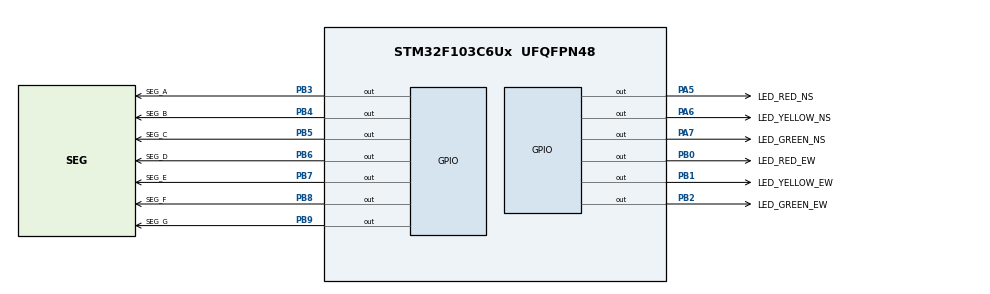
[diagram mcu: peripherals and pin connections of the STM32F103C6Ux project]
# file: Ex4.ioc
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Mcu.Family=STM32F1
Mcu.Name=STM32F103C6Ux
Mcu.Package=UFQFPN48
NVIC.PriorityGroup=NVIC_PRIORITYGROUP_4
PA5.GPIO_Label=LED_RED_NS
PA5.Signal=GPIO_Output
PA6.GPIO_Label=LED_YELLOW_NS
PA6.Signal=GPIO_Output
PA7.GPIO_Label=LED_GREEN_NS
PA7.Signal=GPIO_Output
PB0.GPIO_Label=LED_RED_EW
PB0.Signal=GPIO_Output
PB1.GPIO_Label=LED_YELLOW_EW
PB1.Signal=GPIO_Output
PB2.GPIO_Label=LED_GREEN_EW
PB2.Signal=GPIO_Output
PB3.GPIO_Label=SEG_A
PB3.Signal=GPIO_Output
PB4.GPIO_Label=SEG_B
PB4.Signal=GPIO_Output
PB5.GPIO_Label=SEG_C
PB5.Signal=GPIO_Output
PB6.GPIO_Label=SEG_D
PB6.Signal=GPIO_Output
PB7.GPIO_Label=SEG_E
PB7.Signal=GPIO_Output
PB8.GPIO_Label=SEG_F
PB8.Signal=GPIO_Output
PB9.GPIO_Label=SEG_G
PB9.Signal=GPIO_Output
ProjectManager.HeapSize=0x200
ProjectManager.StackSize=0x400
ProjectManager.TargetToolchain=STM32CubeIDE
RCC.APB1Freq_Value=8000000
RCC.APB2Freq_Value=8000000
VP_SYS_VS_ND.Mode=No_Debug
board=custom

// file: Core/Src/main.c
/* USER CODE BEGIN Header */
/**
  ******************************************************************************
  * @file           : main.c
  * @brief          : Main program body
  ******************************************************************************
  * @attention
  *
  * <h2><center>&copy; Copyright (c) 2026 STMicroelectronics.
  * All rights reserved.</center></h2>
  *
  * This software component is licensed by ST under BSD 3-Clause license,
  * the "License"; You may not use this file except in compliance with the
  * License. You may obtain a copy of the License at:
  *                        opensource.org/licenses/BSD-3-Clause
  *
  ******************************************************************************
  */
/* USER CODE END Header */
#include "main.h"

void SystemClock_Config(void);
static void MX_GPIO_Init(void);
/* USER CODE BEGIN PFP */
void display7SEG(int num);
/* USER CODE END PFP */

/* USER CODE BEGIN 0 */
void display7SEG(int num)
{
    if (num == 0)
    {
        // Số 0: Sáng a, b, c, d, e, f. Tắt g
        HAL_GPIO_WritePin(SEG_A_GPIO_Port, SEG_A_Pin, GPIO_PIN_RESET);
        HAL_GPIO_WritePin(SEG_B_GPIO_Port, SEG_B_Pin, GPIO_PIN_RESET);
        HAL_GPIO_WritePin(SEG_C_GPIO_Port, SEG_C_Pin, GPIO_PIN_RESET);
        HAL_GPIO_WritePin(SEG_D_GPIO_Port, SEG_D_Pin, GPIO_PIN_RESET);
        HAL_GPIO_WritePin(SEG_E_GPIO_Port, SEG_E_Pin, GPIO_PIN_RESET);
        HAL_GPIO_WritePin(SEG_F_GPIO_Port, SEG_F_Pin, GPIO_PIN_RESET);
        HAL_GPIO_WritePin(SEG_G_GPIO_Port, SEG_G_Pin, GPIO_PIN_SET);
    }
    else if (num == 1)
    {
        // Số 1: Sáng b, c. Tắt phần còn lại
        HAL_GPIO_WritePin(SEG_A_GPIO_Port, SEG_A_Pin, GPIO_PIN_SET);
        HAL_GPIO_WritePin(SEG_B_GPIO_Port, SEG_B_Pin, GPIO_PIN_RESET);
        HAL_GPIO_WritePin(SEG_C_GPIO_Port, SEG_C_Pin, GPIO_PIN_RESET);
        HAL_GPIO_WritePin(SEG_D_GPIO_Port, SEG_D_Pin, GPIO_PIN_SET);
        HAL_GPIO_WritePin(SEG_E_GPIO_Port, SEG_E_Pin, GPIO_PIN_SET);
        HAL_GPIO_WritePin(SEG_F_GPIO_Port, SEG_F_Pin, GPIO_PIN_SET);
        HAL_GPIO_WritePin(SEG_G_GPIO_Port, SEG_G_Pin, GPIO_PIN_SET);
    }
    else if (num == 2)
    {
        // Số 2: Sáng a, b, d, e, g. Tắt c, f
        HAL_GPIO_WritePin(SEG_A_GPIO_Port, SEG_A_Pin, GPIO_PIN_RESET);
        HAL_GPIO_WritePin(SEG_B_GPIO_Port, SEG_B_Pin, GPIO_PIN_RESET);
        HAL_GPIO_WritePin(SEG_C_GPIO_Port, SEG_C_Pin, GPIO_PIN_SET);
        HAL_GPIO_WritePin(SEG_D_GPIO_Port, SEG_D_Pin, GPIO_PIN_RESET);
        HAL_GPIO_WritePin(SEG_E_GPIO_Port, SEG_E_Pin, GPIO_PIN_RESET);
        HAL_GPIO_WritePin(SEG_F_GPIO_Port, SEG_F_Pin, GPIO_PIN_SET);
        HAL_GPIO_WritePin(SEG_G_GPIO_Port, SEG_G_Pin, GPIO_PIN_RESET);
    }
    else if (num == 3)
    {
        // Số 3: Sáng a, b, c, d, g. Tắt e, f
        HAL_GPIO_WritePin(SEG_A_GPIO_Port, SEG_A_Pin, GPIO_PIN_RESET);
        HAL_GPIO_WritePin(SEG_B_GPIO_Port, SEG_B_Pin, GPIO_PIN_RESET);
        HAL_GPIO_WritePin(SEG_C_GPIO_Port, SEG_C_Pin, GPIO_PIN_RESET);
        HAL_GPIO_WritePin(SEG_D_GPIO_Port, SEG_D_Pin, GPIO_PIN_RESET);
        HAL_GPIO_WritePin(SEG_E_GPIO_Port, SEG_E_Pin, GPIO_PIN_SET);
        HAL_GPIO_WritePin(SEG_F_GPIO_Port, SEG_F_Pin, GPIO_PIN_SET);
        HAL_GPIO_WritePin(SEG_G_GPIO_Port, SEG_G_Pin, GPIO_PIN_RESET);
    }
    else if (num == 4)
    {
        // Số 4: Sáng b, c, f, g. Tắt a, d, e
        HAL_GPIO_WritePin(SEG_A_GPIO_Port, SEG_A_Pin, GPIO_PIN_SET);
        HAL_GPIO_WritePin(SEG_B_GPIO_Port, SEG_B_Pin, GPIO_PIN_RESET);
        HAL_GPIO_WritePin(SEG_C_GPIO_Port, SEG_C_Pin, GPIO_PIN_RESET);
        HAL_GPIO_WritePin(SEG_D_GPIO_Port, SEG_D_Pin, GPIO_PIN_SET);
        HAL_GPIO_WritePin(SEG_E_GPIO_Port, SEG_E_Pin, GPIO_PIN_SET);
        HAL_GPIO_WritePin(SEG_F_GPIO_Port, SEG_F_Pin, GPIO_PIN_RESET);
        HAL_GPIO_WritePin(SEG_G_GPIO_Port, SEG_G_Pin, GPIO_PIN_RESET);
    }
    else if (num == 5)
    {
        // Số 5: Sáng a, c, d, f, g. Tắt b, e
        HAL_GPIO_WritePin(SEG_A_GPIO_Port, SEG_A_Pin, GPIO_PIN_RESET);
        HAL_GPIO_WritePin(SEG_B_GPIO_Port, SEG_B_Pin, GPIO_PIN_SET);
        HAL_GPIO_WritePin(SEG_C_GPIO_Port, SEG_C_Pin, GPIO_PIN_RESET);
        HAL_GPIO_WritePin(SEG_D_GPIO_Port, SEG_D_Pin, GPIO_PIN_RESET);
        HAL_GPIO_WritePin(SEG_E_GPIO_Port, SEG_E_Pin, GPIO_PIN_SET);
        HAL_GPIO_WritePin(SEG_F_GPIO_Port, SEG_F_Pin, GPIO_PIN_RESET);
        HAL_GPIO_WritePin(SEG_G_GPIO_Port, SEG_G_Pin, GPIO_PIN_RESET);
    }
    else if (num == 6)
    {
        // Số 6: Sáng a, c, d, e, f, g. Tắt b
        HAL_GPIO_WritePin(SEG_A_GPIO_Port, SEG_A_Pin, GPIO_PIN_RESET);
        HAL_GPIO_WritePin(SEG_B_GPIO_Port, SEG_B_Pin, GPIO_PIN_SET);
        HAL_GPIO_WritePin(SEG_C_GPIO_Port, SEG_C_Pin, GPIO_PIN_RESET);
        HAL_GPIO_WritePin(SEG_D_GPIO_Port, SEG_D_Pin, GPIO_PIN_RESET);
        HAL_GPIO_WritePin(SEG_E_GPIO_Port, SEG_E_Pin, GPIO_PIN_RESET);
        HAL_GPIO_WritePin(SEG_F_GPIO_Port, SEG_F_Pin, GPIO_PIN_RESET);
        HAL_GPIO_WritePin(SEG_G_GPIO_Port, SEG_G_Pin, GPIO_PIN_RESET);
    }
    else if (num == 7)
    {
        // Số 7: Sáng a, b, c. Tắt phần còn lại
        HAL_GPIO_WritePin(SEG_A_GPIO_Port, SEG_A_Pin, GPIO_PIN_RESET);
        HAL_GPIO_WritePin(SEG_B_GPIO_Port, SEG_B_Pin, GPIO_PIN_RESET);
        HAL_GPIO_WritePin(SEG_C_GPIO_Port, SEG_C_Pin, GPIO_PIN_RESET);
        HAL_GPIO_WritePin(SEG_D_GPIO_Port, SEG_D_Pin, GPIO_PIN_SET);
        HAL_GPIO_WritePin(SEG_E_GPIO_Port, SEG_E_Pin, GPIO_PIN_SET);
        HAL_GPIO_WritePin(SEG_F_GPIO_Port, SEG_F_Pin, GPIO_PIN_SET);
        HAL_GPIO_WritePin(SEG_G_GPIO_Port, SEG_G_Pin, GPIO_PIN_SET);
    }
    else if (num == 8)
    {
        // Số 8: Sáng tất cả
        HAL_GPIO_WritePin(SEG_A_GPIO_Port, SEG_A_Pin, GPIO_PIN_RESET);
        HAL_GPIO_WritePin(SEG_B_GPIO_Port, SEG_B_Pin, GPIO_PIN_RESET);
        HAL_GPIO_WritePin(SEG_C_GPIO_Port, SEG_C_Pin, GPIO_PIN_RESET);
        HAL_GPIO_WritePin(SEG_D_GPIO_Port, SEG_D_Pin, GPIO_PIN_RESET);
        HAL_GPIO_WritePin(SEG_E_GPIO_Port, SEG_E_Pin, GPIO_PIN_RESET);
        HAL_GPIO_WritePin(SEG_F_GPIO_Port, SEG_F_Pin, GPIO_PIN_RESET);
        HAL_GPIO_WritePin(SEG_G_GPIO_Port, SEG_G_Pin, GPIO_PIN_RESET);
    }
    else if (num == 9)
    {
        // Số 9: Sáng a, b, c, d, f, g. Tắt e
        HAL_GPIO_WritePin(SEG_A_GPIO_Port, SEG_A_Pin, GPIO_PIN_RESET);
        HAL_GPIO_WritePin(SEG_B_GPIO_Port, SEG_B_Pin, GPIO_PIN_RESET);
        HAL_GPIO_WritePin(SEG_C_GPIO_Port, SEG_C_Pin, GPIO_PIN_RESET);
        HAL_GPIO_WritePin(SEG_D_GPIO_Port, SEG_D_Pin, GPIO_PIN_RESET);
        HAL_GPIO_WritePin(SEG_E_GPIO_Port, SEG_E_Pin, GPIO_PIN_SET);
        HAL_GPIO_WritePin(SEG_F_GPIO_Port, SEG_F_Pin, GPIO_PIN_RESET);
        HAL_GPIO_WritePin(SEG_G_GPIO_Port, SEG_G_Pin, GPIO_PIN_RESET);
    }
}
/* USER CODE END 0 */

int main(void)
{

  /* MCU Configuration--------------------------------------------------------*/

  /* Reset of all peripherals, Initializes the Flash interface and the Systick. */
  HAL_Init();

  /* Configure the system clock */
  SystemClock_Config();

  /* Initialize all configured peripherals */
  MX_GPIO_Init();
  /* USER CODE BEGIN 2 */
  int counter = 0;
  /* USER CODE END 2 */

  /* Infinite loop */
  /* USER CODE BEGIN WHILE */
  while (1)
  {
	  if (counter >= 10) counter = 0;
	  display7SEG(counter++);
	  HAL_Delay(1000);
    /* USER CODE END WHILE */

  }
}

void SystemClock_Config(void)
{
  RCC_OscInitTypeDef RCC_OscInitStruct = {0};
  RCC_ClkInitTypeDef RCC_ClkInitStruct = {0};

  /** Initializes the RCC Oscillators according to the specified parameters
  * in the RCC_OscInitTypeDef structure.
  */
  RCC_OscInitStruct.OscillatorType = RCC_OSCILLATORTYPE_HSI;
  RCC_OscInitStruct.HSIState = RCC_HSI_ON;
  RCC_OscInitStruct.HSICalibrationValue = RCC_HSICALIBRATION_DEFAULT;
  RCC_OscInitStruct.PLL.PLLState = RCC_PLL_NONE;
  if (HAL_RCC_OscConfig(&RCC_OscInitStruct) != HAL_OK)
  {
    Error_Handler();
  }
  /** Initializes the CPU, AHB and APB buses clocks
  */
  RCC_ClkInitStruct.ClockType = RCC_CLOCKTYPE_HCLK|RCC_CLOCKTYPE_SYSCLK
                              |RCC_CLOCKTYPE_PCLK1|RCC_CLOCKTYPE_PCLK2;
  RCC_ClkInitStruct.SYSCLKSource = RCC_SYSCLKSOURCE_HSI;
  RCC_ClkInitStruct.AHBCLKDivider = RCC_SYSCLK_DIV1;
  RCC_ClkInitStruct.APB1CLKDivider = RCC_HCLK_DIV1;
  RCC_ClkInitStruct.APB2CLKDivider = RCC_HCLK_DIV1;

  if (HAL_RCC_ClockConfig(&RCC_ClkInitStruct, FLASH_LATENCY_0) != HAL_OK)
  {
    Error_Handler();
  }
}

static void MX_GPIO_Init(void)
{
  GPIO_InitTypeDef GPIO_InitStruct = {0};

  /* GPIO Ports Clock Enable */
  __HAL_RCC_GPIOA_CLK_ENABLE();
  __HAL_RCC_GPIOB_CLK_ENABLE();

  /*Configure GPIO pin Output Level */
  HAL_GPIO_WritePin(GPIOA, LED_RED_NS_Pin|LED_YELLOW_NS_Pin|LED_GREEN_NS_Pin, GPIO_PIN_RESET);

  /*Configure GPIO pin Output Level */
  HAL_GPIO_WritePin(GPIOB, LED_RED_EW_Pin|LED_YELLOW_EW_Pin|LED_GREEN_EW_Pin|SEG_A_Pin
                          |SEG_B_Pin|SEG_C_Pin|SEG_D_Pin|SEG_E_Pin
                          |SEG_F_Pin|SEG_G_Pin, GPIO_PIN_RESET);

  /*Configure GPIO pins : LED_RED_NS_Pin LED_YELLOW_NS_Pin LED_GREEN_NS_Pin */
  GPIO_InitStruct.Pin = LED_RED_NS_Pin|LED_YELLOW_NS_Pin|LED_GREEN_NS_Pin;
  GPIO_InitStruct.Mode = GPIO_MODE_OUTPUT_PP;
  GPIO_InitStruct.Pull = GPIO_NOPULL;
  GPIO_InitStruct.Speed = GPIO_SPEED_FREQ_LOW;
  HAL_GPIO_Init(GPIOA, &GPIO_InitStruct);

  /*Configure GPIO pins : LED_RED_EW_Pin LED_YELLOW_EW_Pin LED_GREEN_EW_Pin SEG_A_Pin
                           SEG_B_Pin SEG_C_Pin SEG_D_Pin SEG_E_Pin
                           SEG_F_Pin SEG_G_Pin */
  GPIO_InitStruct.Pin = LED_RED_EW_Pin|LED_YELLOW_EW_Pin|LED_GREEN_EW_Pin|SEG_A_Pin
                          |SEG_B_Pin|SEG_C_Pin|SEG_D_Pin|SEG_E_Pin
                          |SEG_F_Pin|SEG_G_Pin;
  GPIO_InitStruct.Mode = GPIO_MODE_OUTPUT_PP;
  GPIO_InitStruct.Pull = GPIO_NOPULL;
  GPIO_InitStruct.Speed = GPIO_SPEED_FREQ_LOW;
  HAL_GPIO_Init(GPIOB, &GPIO_InitStruct);

}

void Error_Handler(void)
{
  __disable_irq();
  while (1)
  {
  }
}

/************************ (C) COPYRIGHT STMicroelectronics *****END OF FILE****/
